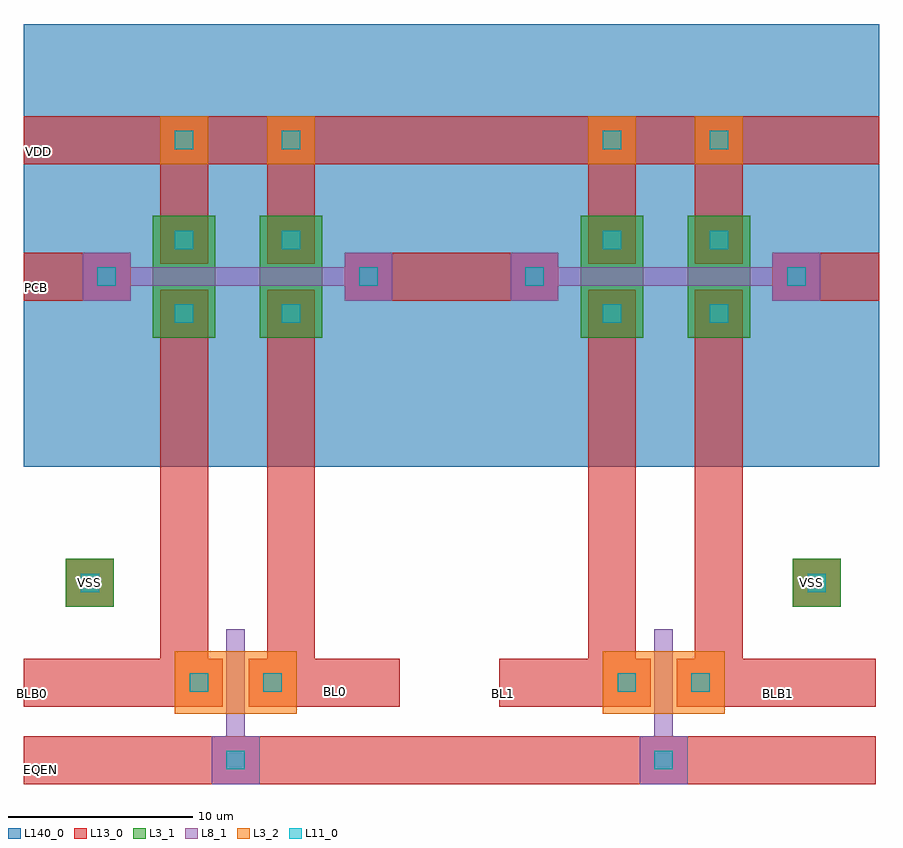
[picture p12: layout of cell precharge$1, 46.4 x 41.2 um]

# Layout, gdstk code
from math import pi, radians
import gdstk
lib = gdstk.Library(unit=1e-6, precision=1e-07)
def R(c, l, rs):  # rectangles x0, y0, x1, y1
    for r in rs: c.add(gdstk.rectangle(r[:2], r[2:], *l))
L3_1 = (3, 1)
L3_2 = (3, 2)
L8_1 = (8, 1)
L11_0 = (11, 0)
L13_0 = (13, 0)
L140_0 = (140, 0)

fet_p_1_1 = lib.new_cell('fet_p$1$1')
R(fet_p_1_1, L3_1, [(-3.3,-1.7,3.3,1.7)])
R(fet_p_1_1, L11_0, [(-2.5,-0.5,-1.5,0.5), (1.5,-0.5,2.5,0.5)])
R(fet_p_1_1, L13_0, [(-3.3,-1.3,-0.7,1.3), (0.7,-1.3,3.3,1.3)])
fet_p_1_1.add(gdstk.FlexPath([(0,-2.9),(0,2.9)], 1, ends="flush", simple_path=True, layer=8, datatype=1))  # L8_1

fet_n_2_2 = lib.new_cell('fet_n$2$2')
R(fet_n_2_2, L3_2, [(-3.3,-1.7,3.3,1.7)])
R(fet_n_2_2, L11_0, [(-2.5,-0.5,-1.5,0.5), (1.5,-0.5,2.5,0.5)])
R(fet_n_2_2, L13_0, [(-3.3,-1.3,-0.7,1.3), (0.7,-1.3,3.3,1.3)])
fet_n_2_2.add(gdstk.FlexPath([(0,-2.9),(0,2.9)], 1, ends="flush", simple_path=True, layer=8, datatype=1))  # L8_1

cont_g_1_1 = lib.new_cell('cont_g$1$1')
R(cont_g_1_1, L8_1, [(-1.3,-1.3,1.3,1.3)])
R(cont_g_1_1, L11_0, [(-0.5,-0.5,0.5,0.5)])
R(cont_g_1_1, L13_0, [(-1.3,-1.3,1.3,1.3)])

cont_n_1_1 = lib.new_cell('cont_n$1$1')
R(cont_n_1_1, L3_2, [(-1.3,-1.3,1.3,1.3)])
R(cont_n_1_1, L11_0, [(-0.5,-0.5,0.5,0.5)])
R(cont_n_1_1, L13_0, [(-1.3,-1.3,1.3,1.3)])

cont_p_1_1 = lib.new_cell('cont_p$1$1')
R(cont_p_1_1, L3_1, [(-1.3,-1.3,1.3,1.3)])
R(cont_p_1_1, L11_0, [(-0.5,-0.5,0.5,0.5)])
R(cont_p_1_1, L13_0, [(-1.3,-1.3,1.3,1.3)])

precharge_1 = lib.new_cell('precharge$1')
R(precharge_1, L13_0, [(-8.7,-27.5,37.5,-24.9), (-8.7,-23.3,-0.5,-20.7), (-1.3,-23.3,1.3,-3.3), (3.5,-23.3,11.7,-20.7), (4.5,-23.3,7.1,-3.3), (17.1,-23.3,25.3,-20.7), (21.9,-23.3,24.5,-3.3), (27.7,-23.3,30.3,-3.3), (29.3,-23.3,37.5,-20.7), (-8.7,-1.3,-5.5,1.3), (11.3,-1.3,17.7,1.3), (34.5,-1.3,37.7,1.3), (-1.3,3.3,1.3,6.1), (4.5,3.3,7.1,6.1), (21.9,3.3,24.5,6.1), (27.7,3.3,30.3,6.1), (-8.7,6.1,14.5,8.7), (14.5,6.1,37.7,8.7)])
R(precharge_1, L140_0, [(-8.7,-10.3,14.5,13.7), (14.5,-10.3,37.7,13.7)])
precharge_1.add(gdstk.Reference(fet_p_1_1, (0,0), rotation=pi/2, x_reflection=True))
precharge_1.add(gdstk.Reference(fet_p_1_1, (5.8,0), rotation=pi/2, x_reflection=True))
precharge_1.add(gdstk.Reference(fet_n_2_2, (2.8,-22), x_reflection=True))
precharge_1.add(gdstk.Reference(cont_g_1_1, (2.8,-26.2), x_reflection=True))
precharge_1.add(gdstk.Reference(cont_g_1_1, (-4.2,0), x_reflection=True))
precharge_1.add(gdstk.Reference(cont_g_1_1, (10,0), x_reflection=True))
precharge_1.add(gdstk.Reference(cont_n_1_1, (0,7.4), x_reflection=True))
precharge_1.add(gdstk.Reference(cont_n_1_1, (5.8,7.4), x_reflection=True))
precharge_1.add(gdstk.Reference(fet_p_1_1, (23.2,0), rotation=pi/2, x_reflection=True))
precharge_1.add(gdstk.Reference(fet_p_1_1, (29,0), rotation=pi/2, x_reflection=True))
precharge_1.add(gdstk.Reference(fet_n_2_2, (26,-22), x_reflection=True))
precharge_1.add(gdstk.Reference(cont_g_1_1, (26,-26.2), x_reflection=True))
precharge_1.add(gdstk.Reference(cont_g_1_1, (19,0), x_reflection=True))
precharge_1.add(gdstk.Reference(cont_g_1_1, (33.2,0), x_reflection=True))
precharge_1.add(gdstk.Reference(cont_n_1_1, (23.2,7.4), x_reflection=True))
precharge_1.add(gdstk.Reference(cont_n_1_1, (29,7.4), x_reflection=True))
precharge_1.add(gdstk.Reference(cont_p_1_1, (-5.1,-16.6), x_reflection=True))
precharge_1.add(gdstk.Reference(cont_p_1_1, (34.3,-16.6), x_reflection=True))
precharge_1.add(gdstk.Label('VSS', (34,-16.6), layer=48, texttype=0))
precharge_1.add(gdstk.Label('BLB0', (-8.2,-22.6), layer=48, texttype=0))
precharge_1.add(gdstk.Label('BL0', (8.2,-22.5), layer=48, texttype=0))
precharge_1.add(gdstk.Label('VDD', (-7.9,6.8), layer=48, texttype=0))
precharge_1.add(gdstk.Label('PCB', (-8,-0.6), layer=48, texttype=0))
precharge_1.add(gdstk.Label('VSS', (-5.1,-16.6), layer=48, texttype=0))
precharge_1.add(gdstk.Label('BL1', (17.3,-22.6), layer=48, texttype=0))
precharge_1.add(gdstk.Label('BLB1', (32.2,-22.6), layer=48, texttype=0))
precharge_1.add(gdstk.Label('EQEN', (-7.8,-26.7), layer=48, texttype=0))

lib.write_gds('precharge_1.gds')
